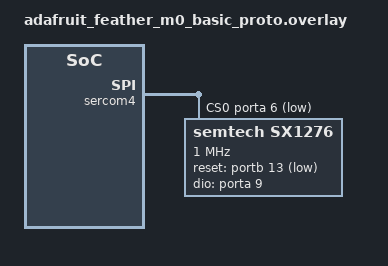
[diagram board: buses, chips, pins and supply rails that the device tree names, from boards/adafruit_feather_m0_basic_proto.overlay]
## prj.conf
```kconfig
CONFIG_LOG=y
CONFIG_SPI=y
CONFIG_GPIO=y
CONFIG_NEWLIB_LIBC=y
CONFIG_LORA=y
CONFIG_LORA_SX1276=y
CONFIG_LORAWAN=y
CONFIG_LORAWAN_USE_RX_RING_BUFFER=n

CONFIG_MAIN_STACK_SIZE=2048
CONFIG_LORAWAN_USE_RX_RING_BUFFER=y
```

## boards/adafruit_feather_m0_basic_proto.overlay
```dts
/*
 * This overlay suits Adafrut Feather M0 LoRa edition.
 *
 * Copyritght (c) 2020: R3-IoT Ltd.
 *
 * SPDX-License-Identifier: Apache-2.0
 */

&sercom4 {
	status = "okay";
	compatible = "atmel,sam0-spi";

	cs-gpios = <&porta 6 GPIO_ACTIVE_LOW>;

	dipo = <0>;
	dopo = <1>;

	lora: sx1276@0 {
		compatible = "semtech,sx1276";
		reg = <0>;
		label = "sx1276";
		reset-gpios = <&portb 13 (GPIO_ACTIVE_LOW)>;
		dio-gpios = <&porta 9 (GPIO_ACTIVE_HIGH)>;

		spi-max-frequency = <1000000>;
		power-amplifier-output = "pa-boost";
	};
};

/ {

	aliases {
		lora0 = &lora;
	};
};
```

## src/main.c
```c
/*
 * Class A LoRaWAN sample application
 *
 * Copyright (c) 2020 Manivannan Sadhasivam <mani@kernel.org>
 *
 * SPDX-License-Identifier: Apache-2.0
 */

#include <device.h>
#include <lorawan/lorawan.h>
#include <zephyr.h>

#define DEFAULT_RADIO_NODE DT_ALIAS(lora0)
BUILD_ASSERT(DT_NODE_HAS_STATUS(DEFAULT_RADIO_NODE, okay),
	     "No default LoRa radio specified in DT");
#define DEFAULT_RADIO DT_LABEL(DEFAULT_RADIO_NODE)

/* Customize based on network configuration */
#define LORAWAN_DEV_EUI			{ 0xDD, 0xEE, 0xAA, 0xDD, 0xBB, 0xEE,\
					  0xEE, 0xFF }
#define LORAWAN_JOIN_EUI		{ 0x00, 0x00, 0x00, 0x00, 0x00, 0x00,\
					  0x00, 0x00 }
#define LORAWAN_APP_KEY			{ 0x2B, 0x7E, 0x15, 0x16, 0x28, 0xAE,\
					  0xD2, 0xA6, 0xAB, 0xF7, 0x15, 0x88,\
					  0x09, 0xCF, 0x4F, 0x3C }

#define DELAY K_MSEC(10000)
#define DL_MSG_LEN 256

#define LOG_LEVEL CONFIG_LOG_DEFAULT_LEVEL
#include <logging/log.h>
LOG_MODULE_REGISTER(lorawan_class_a);

char data[] = {'h', 'e', 'l', 'l', 'o', 'w', 'o', 'r', 'l', 'd'};

void main(void)
{
	const struct device *lora_dev;
	struct lorawan_join_config join_cfg;
	uint8_t dev_eui[] = LORAWAN_DEV_EUI;
	uint8_t join_eui[] = LORAWAN_JOIN_EUI;
	uint8_t app_key[] = LORAWAN_APP_KEY;
	int ret;
	int dl_msgs_no;
	int i;
	uint8_t port;
	uint8_t dl_msg[DL_MSG_LEN] = {'\0'};

	lora_dev = device_get_binding(DEFAULT_RADIO);
	if (!lora_dev) {
		LOG_ERR("%s Device not found", DEFAULT_RADIO);
		return;
	}

	ret = lorawan_start();
	if (ret < 0) {
		LOG_ERR("lorawan_start failed: %d", ret);
		return;
	}

	join_cfg.mode = LORAWAN_CLASS_A;
	join_cfg.dev_eui = dev_eui;
	join_cfg.otaa.join_eui = join_eui;
	join_cfg.otaa.app_key = app_key;
	join_cfg.otaa.nwk_key = app_key;

	do {
		LOG_INF("Joining network over OTAA");
		ret = lorawan_join(&join_cfg);
		if (ret < 0) {
			LOG_ERR("lorawan_join_network failed: %d", ret);
			k_sleep(DELAY);
		}
	} while (ret < 0);

	while (1) {
		LOG_INF("Sending data...");
		ret = lorawan_send(2, data, sizeof(data),
				   LORAWAN_MSG_CONFIRMED);

		/*
		 * Note: The stack may return -EAGAIN if the provided data
		 * length exceeds the maximum possible one for the region and
		 * datarate. But since we are just sending the same data here,
		 * we'll just continue.
		 */
		if (ret == -EAGAIN) {
			LOG_ERR("lorawan_send failed: %d. Continuing...", ret);
			k_sleep(DELAY);
			continue;
		}

		if (ret < 0) {
			LOG_ERR("lorawan_send failed: %d. Continuing...", ret);
			k_sleep(DELAY);
			continue;
		}

		LOG_INF("Data sent!");

		dl_msgs_no = lorawan_receive_available();
		if (dl_msgs_no >= 0) {
			LOG_INF("%d downlink msgs available", dl_msgs_no);
			for (i = 0; i < dl_msgs_no; i++) {
				memset(dl_msg, '\0', DL_MSG_LEN);
				ret = lorawan_receive_read(&port, dl_msg,
					DL_MSG_LEN-1);
				if (ret >= 0) {
					LOG_INF("Msg at port %d, length %d: %s",
						port,
						ret,
						log_strdup(dl_msg));
				}
			}
		}
		k_sleep(DELAY);
	}
}
```
